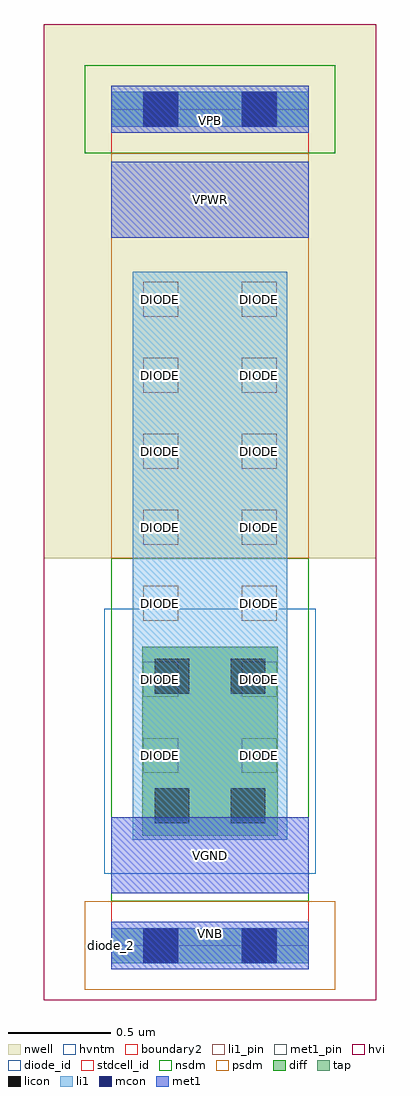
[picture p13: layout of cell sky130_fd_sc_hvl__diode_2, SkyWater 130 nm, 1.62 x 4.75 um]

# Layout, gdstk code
import gdstk
lib = gdstk.Library(unit=1e-6, precision=1e-09)
def R(c, l, rs):  # rectangles x0, y0, x1, y1
    for r in rs: c.add(gdstk.rectangle(r[:2], r[2:], *l))
def A(c, l, x, y, w, h, nx, ny, dx, dy):  # array of equal rectangles
    R(c, l, [(x+i*dx, y+j*dy, x+i*dx+w, y+j*dy+h) for i in range(nx) for j in range(ny)])
nwell = (64, 20)
diff = (65, 20)
tap = (65, 44)
licon = (66, 44)
li1_pin = (67, 16)
li1 = (67, 20)
mcon = (67, 44)
met1_pin = (68, 16)
met1 = (68, 20)
hvi = (75, 20)
stdcell_id = (81, 4)
diode_id = (81, 23)
nsdm = (93, 44)
psdm = (94, 20)
hvntm = (125, 20)
boundary2 = (236, 0)

sky130_fd_sc_hvl__diode_ = lib.new_cell('sky130_fd_sc_hvl__diode_2')
R(sky130_fd_sc_hvl__diode_, nwell, [(-0.33,1.885,1.29,4.485)])
R(sky130_fd_sc_hvl__diode_, diff, [(0.15,0.535,0.81,1.455)])
R(sky130_fd_sc_hvl__diode_, tap, [(0,-0.085,0.96,0.085), (0,3.985,0.96,4.155)])
R(sky130_fd_sc_hvl__diode_, licon, [(0.155,-0.085,0.325,0.085), (0.635,-0.085,0.805,0.085), (0.21,0.595,0.38,0.765), (0.58,0.595,0.75,0.765), (0.21,1.225,0.38,1.395), (0.58,1.225,0.75,1.395), (0.155,3.985,0.325,4.155), (0.635,3.985,0.805,4.155)])
A(sky130_fd_sc_hvl__diode_, li1_pin, 0.155, 0.84, 0.17, 0.17, 1, 7, 0, 0.37)
A(sky130_fd_sc_hvl__diode_, li1_pin, 0.635, 0.84, 0.17, 0.17, 1, 7, 0, 0.37)
R(sky130_fd_sc_hvl__diode_, li1, [(0,-0.085,0.96,0.085), (0.105,0.515,0.855,3.28), (0,3.985,0.96,4.155)])
R(sky130_fd_sc_hvl__diode_, mcon, [(0.155,-0.085,0.325,0.085), (0.155,-0.085,0.325,0.085), (0.635,-0.085,0.805,0.085), (0.635,-0.085,0.805,0.085), (0.155,3.985,0.325,4.155), (0.155,3.985,0.325,4.155), (0.635,3.985,0.805,4.155), (0.635,3.985,0.805,4.155)])
R(sky130_fd_sc_hvl__diode_, met1_pin, [(0,0,0.96,0.115), (0,0,0.96,0.115), (0,0.255,0.96,0.625), (0,3.445,0.96,3.815), (0,3.955,0.96,4.07), (0,3.955,0.96,4.07)])
R(sky130_fd_sc_hvl__diode_, met1, [(0,-0.115,0.96,0.115), (0,0.255,0.96,0.625), (0,3.445,0.96,3.815), (0,3.955,0.96,4.185)])
R(sky130_fd_sc_hvl__diode_, hvi, [(-0.33,-0.265,1.29,4.485)])
R(sky130_fd_sc_hvl__diode_, stdcell_id, [(0,0,0.96,4.07)])
R(sky130_fd_sc_hvl__diode_, diode_id, [(0.15,0.535,0.81,1.455)])
R(sky130_fd_sc_hvl__diode_, nsdm, [(0,0.215,0.96,1.885), (-0.13,3.855,1.09,4.285), (0,3.855,0.96,4.07)])
R(sky130_fd_sc_hvl__diode_, psdm, [(-0.13,-0.215,1.09,0.215), (0,1.885,0.96,3.855)])
R(sky130_fd_sc_hvl__diode_, hvntm, [(-0.035,0.35,0.995,1.64)])
R(sky130_fd_sc_hvl__diode_, boundary2, [(0,0,0.96,4.07)])
sky130_fd_sc_hvl__diode_.add(gdstk.Label('DIODE', (0.24,3.145), layer=67, texttype=5))
sky130_fd_sc_hvl__diode_.add(gdstk.Label('DIODE', (0.72,3.145), layer=67, texttype=5))
sky130_fd_sc_hvl__diode_.add(gdstk.Label('DIODE', (0.24,2.775), layer=67, texttype=5))
sky130_fd_sc_hvl__diode_.add(gdstk.Label('DIODE', (0.72,2.775), layer=67, texttype=5))
sky130_fd_sc_hvl__diode_.add(gdstk.Label('DIODE', (0.24,2.405), layer=67, texttype=5))
sky130_fd_sc_hvl__diode_.add(gdstk.Label('DIODE', (0.72,2.405), layer=67, texttype=5))
sky130_fd_sc_hvl__diode_.add(gdstk.Label('DIODE', (0.24,2.035), layer=67, texttype=5))
sky130_fd_sc_hvl__diode_.add(gdstk.Label('DIODE', (0.72,2.035), layer=67, texttype=5))
sky130_fd_sc_hvl__diode_.add(gdstk.Label('DIODE', (0.24,1.665), layer=67, texttype=5))
sky130_fd_sc_hvl__diode_.add(gdstk.Label('DIODE', (0.72,1.665), layer=67, texttype=5))
sky130_fd_sc_hvl__diode_.add(gdstk.Label('DIODE', (0.72,1.295), layer=67, texttype=5))
sky130_fd_sc_hvl__diode_.add(gdstk.Label('DIODE', (0.72,0.925), layer=67, texttype=5))
sky130_fd_sc_hvl__diode_.add(gdstk.Label('DIODE', (0.24,0.925), layer=67, texttype=5))
sky130_fd_sc_hvl__diode_.add(gdstk.Label('DIODE', (0.24,1.295), layer=67, texttype=5))
sky130_fd_sc_hvl__diode_.add(gdstk.Label('diode_2', (0,0), layer=83, texttype=44))
sky130_fd_sc_hvl__diode_.add(gdstk.Label('VGND', (0.48,0.44), layer=68, texttype=5))
sky130_fd_sc_hvl__diode_.add(gdstk.Label('VNB', (0.48,0.058), layer=68, texttype=5))
sky130_fd_sc_hvl__diode_.add(gdstk.Label('VNB', (0.48,0.058), layer=68, texttype=5))
sky130_fd_sc_hvl__diode_.add(gdstk.Label('VPWR', (0.48,3.63), layer=68, texttype=5))
sky130_fd_sc_hvl__diode_.add(gdstk.Label('VPB', (0.48,4.013), layer=68, texttype=5))
sky130_fd_sc_hvl__diode_.add(gdstk.Label('VPB', (0.48,4.013), layer=68, texttype=5))

lib.write_gds('sky130_fd_sc_hvl__diode_2.gds')
